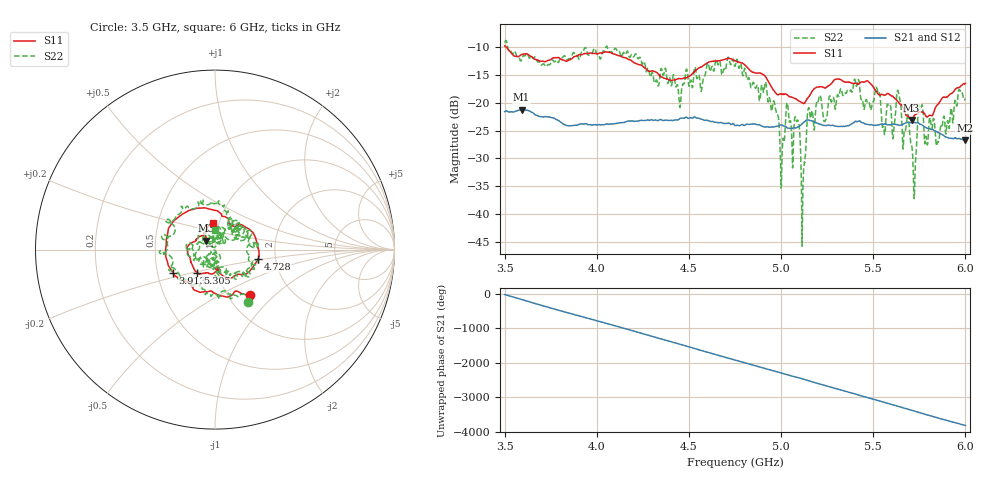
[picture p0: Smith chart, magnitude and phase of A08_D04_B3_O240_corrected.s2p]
! Created with skrf 1.9.0 (http://scikit-rf.org).
# Hz S RI R 50.0
!freq ReS11 ImS11 ReS21 ImS21 ReS12 ImS12 ReS22 ImS22
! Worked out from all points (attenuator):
!   1601 points, 3.5 GHz to 6 GHz, reference 50 ohm
!   highest |S21| = -21.28 dB at 3.592 GHz (marker M1); lowest = -26.8 dB at 5.997 GHz (marker M2)
!   lowest |S11| = -23.1 dB at 5.708 GHz (marker M3), VSWR 1.15, Z = 45.1 + j4.54 ohm
!   |S11| at or under -10 dB: 3.506 GHz to end of sweep
!   |S22| runs from -45.7 to -8.9 dB; largest |S21 - S12| = 0.0011
!   S11 on the Smith chart (normalised r, x): 3.5 GHz: 1.27, -0.72; 3.913 GHz: 0.60, -0.17; 4.728 GHz: 1.62, -0.19; 5.305 GHz: 0.80, -0.21; 6 GHz: 0.94, +0.28
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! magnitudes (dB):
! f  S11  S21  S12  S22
! 3.5 GHz  -9.9  -21.6  -21.6  -9.3
! 3.592 GHz  -11.4  -21.3  -21.3  -12.3
! 3.913 GHz  -11.4  -23.8  -23.8  -11.4
! 3.917 GHz  -11.4  -23.8  -23.8  -10.9
! 4.334 GHz  -14.9  -23.2  -23.1  -17.1
! 4.728 GHz  -12.2  -23.9  -23.8  -13.1
! 4.75 GHz  -12.5  -24.1  -24.0  -13.5
! 4.967 GHz  -18.1  -24.3  -24.2  -20.6
! 5.005 GHz  -18.4  -24.0  -24.0  -30.1
! 5.034 GHz  -18.7  -24.6  -24.4  -20.2
! 5.086 GHz  -19.5  -24.5  -24.4  -23.4
! 5.119 GHz  -20.1  -23.7  -23.6  -34.8
! 5.167 GHz  -18.0  -23.3  -23.2  -21.5
! 5.305 GHz  -15.8  -24.3  -24.2  -18.7
! 5.584 GHz  -18.5  -24.0  -23.9  -20.4
! 5.639 GHz  -20.1  -24.0  -24.0  -18.6
! 5.708 GHz  -23.1  -23.6  -23.5  -27.6
! 5.727 GHz  -22.2  -23.6  -23.5  -32.6
! 5.756 GHz  -21.7  -23.9  -23.8  -21.2
! 5.848 GHz  -20.4  -25.3  -25.2  -27.1
! 5.997 GHz  -16.6  -26.8  -26.7  -19.5
! 6 GHz  -16.6  -26.8  -26.7  -19.3
